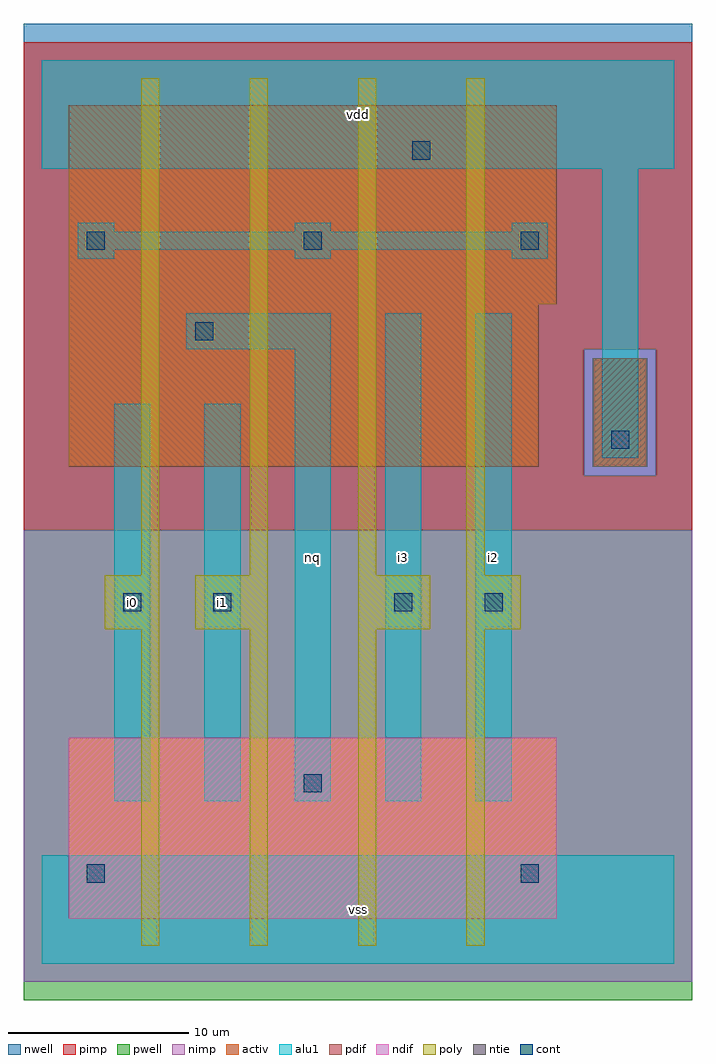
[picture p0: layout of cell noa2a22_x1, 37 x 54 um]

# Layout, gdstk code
import gdstk
lib = gdstk.Library(unit=1e-6, precision=1e-09)
def R(c, l, rs):  # rectangles x0, y0, x1, y1
    for r in rs: c.add(gdstk.rectangle(r[:2], r[2:], *l))
def A(c, l, x, y, w, h, nx, ny, dx, dy):  # array of equal rectangles
    R(c, l, [(x+i*dx, y+j*dy, x+i*dx+w, y+j*dy+h) for i in range(nx) for j in range(ny)])
ndif = (3, 0)
pdif = (4, 0)
ntie = (5, 0)
cont = (25, 0)
pwell = (41, 0)
nwell = (42, 0)
activ = (43, 0)
pimp = (44, 0)
nimp = (45, 0)
poly = (46, 0)
alu1 = (49, 0)

noa2a22_x1 = lib.new_cell('noa2a22_x1')
R(noa2a22_x1, ndif, [(1.5,2.5,28.5,12.5)])
R(noa2a22_x1, pdif, [(1.5,27.5,27.5,36.5), (1.5,36.5,28.5,47.5)])
R(noa2a22_x1, ntie, [(30.5,27.5,33.5,33.5)])
A(noa2a22_x1, cont, 2.5, 39.5, 1, 1, 3, 1, 12, 0)
R(noa2a22_x1, cont, [(2.5,4.5,3.5,5.5), (26.5,4.5,27.5,5.5), (14.5,9.5,15.5,10.5), (4.5,19.5,5.5,20.5), (9.5,19.5,10.5,20.5), (19.5,19.5,20.5,20.5), (24.5,19.5,25.5,20.5), (31.5,28.5,32.5,29.5), (8.5,34.5,9.5,35.5), (20.5,44.5,21.5,45.5)])
R(noa2a22_x1, pwell, [(-1,-2,36,24)])
R(noa2a22_x1, nwell, [(-1,24,36,52)])
R(noa2a22_x1, activ, [(1.5,2.5,28.5,12.5), (1.5,27.5,27.5,36.5), (30.5,27.5,33.5,33.5), (1.5,36.5,28.5,47.5)])
R(noa2a22_x1, pimp, [(-1,24,36,27), (-1,27,30,34), (34,27,36,34), (-1,34,36,51)])
R(noa2a22_x1, nimp, [(-1,-1,36,24), (30,27,34,34)])
A(noa2a22_x1, poly, 5.5, 1, 1, 17.5, 4, 1, 6, 0)
A(noa2a22_x1, poly, 5.5, 21.5, 1, 27.5, 4, 1, 6, 0)
R(noa2a22_x1, poly, [(3.5,18.5,6.5,21.5), (8.5,18.5,12.5,21.5), (17.5,18.5,21.5,21.5), (23.5,18.5,26.5,21.5)])
A(noa2a22_x1, alu1, 2, 39, 2, 0.5, 3, 2, 12, 1.5)
R(noa2a22_x1, alu1, [(0,0,35,6), (4,9,6,31), (9,9,11,31), (14,9,16,34), (19,9,21,36), (24,9,26,36), (31,28,33,44), (8,34,16,36), (2,39.5,28,40.5), (0,44,35,50)])
noa2a22_x1.add(gdstk.Label('i0', (5,20), layer=49, texttype=0))
noa2a22_x1.add(gdstk.Label('i1', (10,20), layer=49, texttype=0))
noa2a22_x1.add(gdstk.Label('nq', (15,22.5), layer=49, texttype=0))
noa2a22_x1.add(gdstk.Label('vss', (17.5,3), layer=49, texttype=0))
noa2a22_x1.add(gdstk.Label('i3', (20,22.5), layer=49, texttype=0))
noa2a22_x1.add(gdstk.Label('i2', (25,22.5), layer=49, texttype=0))
noa2a22_x1.add(gdstk.Label('vdd', (17.5,47), layer=49, texttype=0))

lib.write_gds('noa2a22_x1.gds')
